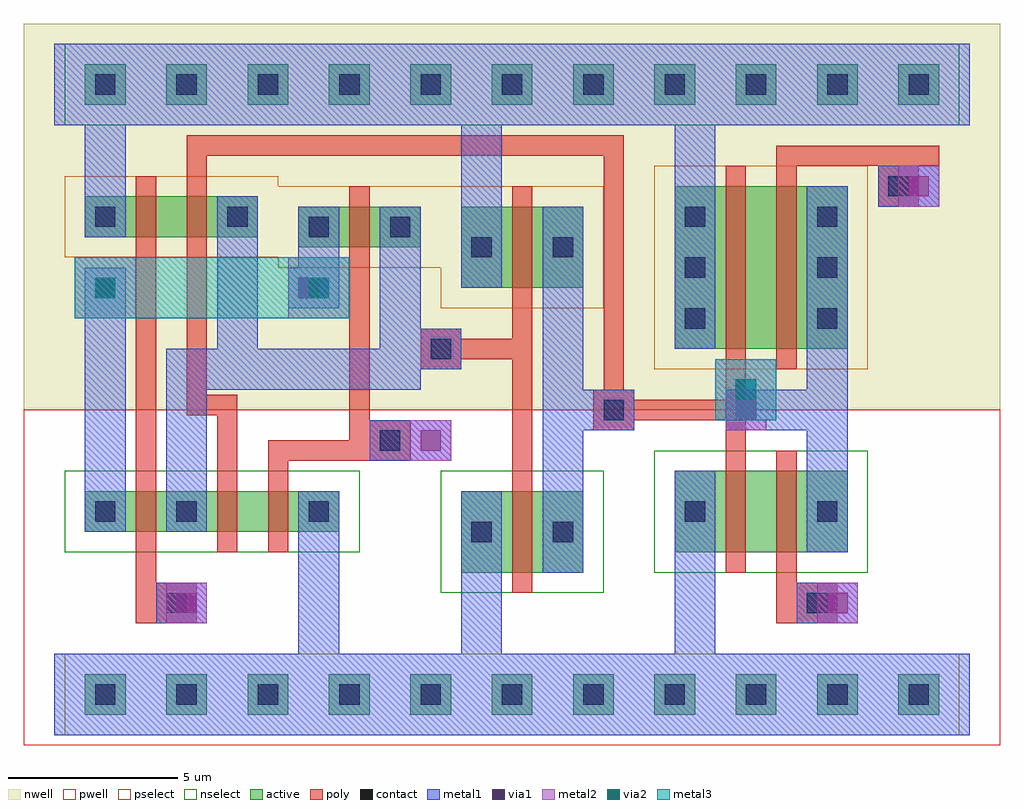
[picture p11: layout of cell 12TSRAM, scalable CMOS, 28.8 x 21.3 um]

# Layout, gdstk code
import gdstk
lib = gdstk.Library(unit=1e-6, precision=1e-09)
def R(c, l, rs):  # rectangles x0, y0, x1, y1
    for r in rs: c.add(gdstk.rectangle(r[:2], r[2:], *l))
def A(c, l, x, y, w, h, nx, ny, dx, dy):  # array of equal rectangles
    R(c, l, [(x+i*dx, y+j*dy, x+i*dx+w, y+j*dy+h) for i in range(nx) for j in range(ny)])
contact = (25, 0)
pwell = (41, 0)
nwell = (42, 0)
active = (43, 0)
pselect = (44, 0)
nselect = (45, 0)
poly = (46, 0)
metal1 = (49, 0)
via1 = (50, 0)
metal2 = (51, 0)
via2 = (61, 0)
metal3 = (62, 0)

c_12tsram = lib.new_cell('12TSRAM')
A(c_12tsram, contact, 0.9, -0.3, 0.6, 0.6, 11, 2, 2.4, 18)
A(c_12tsram, contact, 18.3, 10.8, 0.6, 0.6, 1, 3, 0, 1.5)
A(c_12tsram, contact, 22.2, 10.8, 0.6, 0.6, 1, 3, 0, 1.5)
R(c_12tsram, contact, [(3,2.4,3.6,3), (21.9,2.4,22.5,3), (12,4.5,12.6,5.1), (14.4,4.5,15,5.1), (0.9,5.1,1.5,5.7), (3.3,5.1,3.9,5.7), (7.2,5.1,7.8,5.7), (18.3,5.1,18.9,5.7), (22.2,5.1,22.8,5.7), (9.3,7.2,9.9,7.8), (15.9,8.1,16.5,8.7), (10.8,9.9,11.4,10.5), (12,12.9,12.6,13.5), (14.4,12.9,15,13.5), (7.2,13.5,7.8,14.1), (9.6,13.5,10.2,14.1), (0.9,13.8,1.5,14.4), (4.8,13.8,5.4,14.4), (24.3,14.7,24.9,15.3)])
A(c_12tsram, pwell, -0.3, -1.5, 3, 3, 11, 1, 2.4, 0)
R(c_12tsram, pwell, [(-1.2,-1.5,27.6,8.4), (9.9,1.8,14.7,7.8), (10.5,1.8,16.5,7.8), (12.3,1.8,17.1,7.8), (16.2,2.4,21,8.4), (16.8,2.4,22.8,8.4), (18.3,2.4,24.3,8.4), (20.1,2.4,24.9,8.4), (10.05,2.55,14.625,7.05), (12.375,2.85,16.95,7.35), (-1.2,3,3.6,7.8), (-0.6,3,5.4,7.8), (1.2,3,6,7.8), (1.8,3,7.8,7.8), (3.3,3,9.3,7.8), (5.1,3,9.9,7.8), (-1.2,3.15,3.525,7.65), (1.275,3.15,5.925,7.65), (1.35,3.15,5.925,7.65), (2.925,3.15,8.175,7.65), (5.1,3.15,9.675,7.65), (20.175,3.15,24.75,7.65), (17.925,3.45,23.175,7.95), (16.35,3.6,20.925,8.1)])
A(c_12tsram, nwell, -0.3, 16.5, 3, 3, 11, 1, 2.4, 0)
R(c_12tsram, nwell, [(-1.2,8.4,27.6,19.8), (16.2,8.4,21,16.8), (16.8,8.4,22.8,16.8), (18.3,8.4,24.3,16.8), (20.1,8.4,24.9,16.8), (17.925,9.6,23.175,14.1), (9.9,10.2,14.7,16.2), (10.5,10.2,16.5,16.2), (12.3,10.2,17.1,16.2), (20.175,10.35,24.75,14.85), (10.05,10.95,14.625,15.45), (12.375,10.95,17.1,15.45), (16.35,10.95,20.925,15.45), (5.1,11.4,9.9,16.2), (5.7,11.4,11.7,16.2), (7.5,11.4,12.3,16.2), (5.25,11.55,9.825,16.05), (7.575,11.55,12.15,16.05), (-1.2,11.7,3.6,16.5), (-0.6,11.7,5.4,16.5), (0.9,11.7,6.9,16.5), (2.7,11.7,7.5,16.5), (-1.05,11.85,3.525,16.35), (0.525,11.85,5.775,16.35), (2.775,11.85,7.5,16.35)])
A(c_12tsram, active, 0.6, -0.6, 1.2, 1.2, 11, 2, 2.4, 18)
R(c_12tsram, active, [(11.7,3.6,12.9,6), (12.3,3.6,14.7,6), (14.1,3.6,15.3,6), (18,4.2,19.2,6.6), (18.6,4.2,21,6.6), (20.1,4.2,22.5,6.6), (21.9,4.2,23.1,6.6), (11.85,4.35,12.825,5.25), (14.175,4.65,15.15,5.55), (0.6,4.8,1.8,6), (1.2,4.8,3.6,6), (3,4.8,4.2,6), (3.6,4.8,6,6), (5.1,4.8,7.5,6), (6.9,4.8,8.1,6), (0.6,4.95,1.725,5.85), (3.075,4.95,4.125,5.85), (3.15,4.95,4.125,5.85), (4.725,4.95,6.375,5.85), (6.9,4.95,7.875,5.85), (21.975,4.95,22.95,5.85), (19.725,5.25,21.375,6.15), (18.15,5.4,19.125,6.3), (18,10.2,19.2,15), (18.6,10.2,21,15), (20.1,10.2,22.5,15), (21.9,10.2,23.1,15), (19.725,11.4,21.375,12.3), (11.7,12,12.9,14.4), (12.3,12,14.7,14.4), (14.1,12,15.3,14.4), (21.975,12.15,22.95,13.05), (11.85,12.75,12.825,13.65), (14.175,12.75,15.3,13.65), (18.15,12.75,19.125,13.65), (6.9,13.2,8.1,14.4), (7.5,13.2,9.9,14.4), (9.3,13.2,10.5,14.4), (7.05,13.35,8.025,14.25), (9.375,13.35,10.35,14.25), (0.6,13.5,1.8,14.7), (1.2,13.5,3.6,14.7), (2.7,13.5,5.1,14.7), (4.5,13.5,5.7,14.7), (0.75,13.65,1.725,14.55), (2.325,13.65,3.975,14.55), (4.575,13.65,5.7,14.55)])
A(c_12tsram, pselect, 0, -1.2, 2.4, 2.4, 11, 1, 2.4, 0)
R(c_12tsram, pselect, [(17.4,9.6,19.8,15.6), (18,9.6,21.6,15.6), (19.5,9.6,23.1,15.6), (21.3,9.6,23.7,15.6), (19.125,10.8,21.975,12.9), (11.1,11.4,13.5,15), (11.7,11.4,15.3,15), (13.5,11.4,15.9,15), (21.375,11.55,23.55,13.65), (11.25,12.15,13.425,14.25), (13.575,12.15,15.9,14.25), (17.55,12.15,19.725,14.25), (6.3,12.6,8.7,15), (6.9,12.6,10.5,15), (8.7,12.6,11.1,15), (6.45,12.75,8.625,14.85), (8.775,12.75,10.95,14.85), (0,12.9,2.4,15.3), (0.6,12.9,4.2,15.3), (2.1,12.9,5.7,15.3), (3.9,12.9,6.3,15.3), (0.15,13.05,2.325,15.15), (1.725,13.05,4.575,15.15), (3.975,13.05,6.3,15.15)])
A(c_12tsram, nselect, 0, 16.8, 2.4, 2.4, 11, 1, 2.4, 0)
R(c_12tsram, nselect, [(11.1,3,13.5,6.6), (11.7,3,15.3,6.6), (13.5,3,15.9,6.6), (17.4,3.6,19.8,7.2), (18,3.6,21.6,7.2), (19.5,3.6,23.1,7.2), (21.3,3.6,23.7,7.2), (11.25,3.75,13.425,5.85), (13.575,4.05,15.75,6.15), (0,4.2,2.4,6.6), (0.6,4.2,4.2,6.6), (2.4,4.2,4.8,6.6), (3,4.2,6.6,6.6), (4.5,4.2,8.1,6.6), (6.3,4.2,8.7,6.6), (0,4.35,2.325,6.45), (2.475,4.35,4.725,6.45), (2.55,4.35,4.725,6.45), (4.125,4.35,6.975,6.45), (6.3,4.35,8.475,6.45), (21.375,4.35,23.55,6.45), (19.125,4.65,21.975,6.75), (17.55,4.8,19.725,6.9)])
R(c_12tsram, poly, [(2.1,2.1,2.7,4.5), (2.1,2.1,2.7,3), (2.7,2.1,3.9,3.3), (21,2.1,21.6,3.9), (21,2.1,21.6,3), (21.6,2.1,22.8,3.3), (2.1,2.4,3.75,3), (21,2.4,22.65,3), (13.2,3,13.8,6.6), (19.5,3.6,20.1,7.2), (21,3.6,21.6,7.2), (2.1,4.2,2.7,6.6), (4.5,4.2,5.1,6.6), (6,4.2,6.6,6.6), (2.1,6.3,2.7,13.2), (4.5,6.3,5.1,8.85), (6,6.3,6.6,7.5), (13.2,6.3,13.8,10.5), (6,6.9,9,7.5), (8.4,6.9,9,7.95), (9,6.9,10.2,8.1), (19.5,6.9,20.1,8.7), (8.4,7.35,9,12.9), (8.4,7.35,9.9,7.95), (15.6,7.8,16.8,9), (15.9,8.1,20.1,8.7), (15.9,8.1,16.5,16.5), (19.5,8.1,20.1,9.9), (3.6,8.25,4.2,13.2), (3.6,8.25,5.1,8.85), (10.5,9.6,11.7,10.8), (19.5,9.6,20.1,15.6), (21,9.6,21.6,15.6), (10.8,9.9,13.8,10.5), (13.2,9.9,13.8,11.7), (13.2,11.4,13.8,15), (8.4,12.6,9,15), (2.1,12.9,2.7,15.3), (3.6,12.9,4.2,15.3), (24,14.4,25.2,15.6), (24.3,14.7,24.9,16.2), (3.6,15,4.2,16.5), (21,15.3,21.6,16.2), (21,15.6,25.8,16.2), (24.3,15.6,25.8,16.2), (3.6,15.9,16.5,16.5)])
A(c_12tsram, metal1, 0.6, -0.6, 1.2, 1.2, 11, 2, 2.4, 18)
A(c_12tsram, metal1, 0, 16.8, 4.8, 2.4, 4, 1, 2.4, 0)
R(c_12tsram, metal1, [(-0.3,-1.2,2.4,1.2), (0,-1.2,4.8,1.2), (2.4,-1.2,7.05,1.2), (4.65,-1.2,9.45,1.2), (7.05,-1.2,12,1.2), (9.6,-1.2,13.5,1.2), (11.1,-1.2,14.4,1.2), (11.1,-1.2,16.8,1.2), (14.4,-1.2,19.8,1.2), (16.8,-1.2,19.8,1.2), (17.4,-1.2,21.6,1.2), (19.2,-1.2,24,1.2), (21.6,-1.2,26.4,1.2), (24,-1.2,26.7,1.2), (6.6,-0.9,9.15,0.9), (6.9,-0.6,8.1,6), (11.7,-0.6,12.9,5.4), (18,-0.6,19.2,5.4), (2.7,2.1,3.9,3.3), (3,2.1,4.2,3.3), (21.6,2.1,22.8,3.3), (22.2,2.1,23.4,3.3), (3,2.25,3.9,3.15), (21.9,2.25,23.25,3.15), (11.7,3.6,12.9,6), (14.1,3.6,15.3,6), (18,4.2,19.2,6.6), (21.9,4.2,23.1,6.6), (0.6,4.8,1.8,6), (0.6,4.8,1.8,12.6), (3,4.8,4.2,6), (3,4.8,4.2,10.2), (6.9,4.8,8.1,6), (14.1,4.95,15.3,9), (21.9,5.55,23.1,9), (9,6.9,10.2,8.1), (10.2,6.9,11.4,8.1), (9.15,7.2,10.95,8.1), (14.1,7.8,15.3,13.35), (14.1,7.8,16.8,9), (15.6,7.8,16.8,9), (19.5,7.8,20.7,9), (19.5,7.8,23.1,9), (21.9,7.8,23.1,11.25), (3,9,5.7,10.2), (4.5,9,5.7,14.7), (4.5,9,10.5,10.2), (9.3,9,10.5,10.8), (9.3,9.6,10.5,14.4), (9.3,9.6,11.7,10.8), (10.5,9.6,11.7,10.8), (18,10.2,19.2,15), (21.9,10.2,23.1,15), (0.6,11.4,1.8,12.6), (6.6,11.4,7.8,12.6), (6.9,11.4,8.1,14.4), (11.7,12,12.9,14.4), (14.1,12,15.3,14.4), (6.9,13.2,8.1,14.4), (9.3,13.2,10.5,14.4), (11.7,13.2,12.9,18.6), (0.6,13.5,1.8,14.7), (0.6,13.5,1.8,18.6), (4.5,13.5,5.7,14.7), (18,13.65,19.2,18.6), (24,14.4,25.2,15.6), (24.6,14.4,25.8,15.6), (24.15,14.55,25.65,15.45), (-0.3,16.8,2.4,19.2), (9.6,16.8,13.5,19.2), (11.1,16.8,14.4,19.2), (12,16.8,16.8,19.2), (14.4,16.8,19.8,19.2), (19.05,16.8,24,19.2), (22.65,16.8,26.7,19.2), (0.3,17.1,2.1,18.9), (17.1,17.1,19.5,18.9), (17.7,17.1,21.15,18.9), (21.9,17.1,24.75,18.9), (22.95,17.1,26.1,18.9), (12.75,17.55,13.65,18.45), (19.95,17.55,20.85,18.45)])
R(c_12tsram, via1, [(3.3,2.4,3.9,3), (22.5,2.4,23.1,3), (10.5,7.2,11.1,7.8), (19.8,8.1,20.4,8.7), (0.9,11.7,1.5,12.3), (6.9,11.7,7.5,12.3), (24.9,14.7,25.5,15.3)])
R(c_12tsram, metal2, [(3,2.1,4.2,3.3), (22.2,2.1,23.4,3.3), (10.2,6.9,11.4,8.1), (19.5,7.8,20.7,9), (19.65,7.95,20.55,9.45), (19.2,8.1,21,9.9), (0.3,11.1,2.1,12.9), (6.6,11.1,8.4,12.9), (0.6,11.4,1.8,12.6), (6.6,11.4,7.8,12.6), (0.6,11.55,1.65,12.45), (7.05,11.55,7.95,12.45), (24.6,14.4,25.8,15.6)])
R(c_12tsram, via2, [(19.8,8.7,20.4,9.3), (0.9,11.7,1.5,12.3), (7.2,11.7,7.8,12.3)])
R(c_12tsram, metal3, [(19.2,8.1,21,9.9), (0.3,11.1,2.1,12.9), (0.3,11.1,8.4,12.9), (6.6,11.1,8.4,12.9)])

lib.write_gds('12TSRAM.gds')
